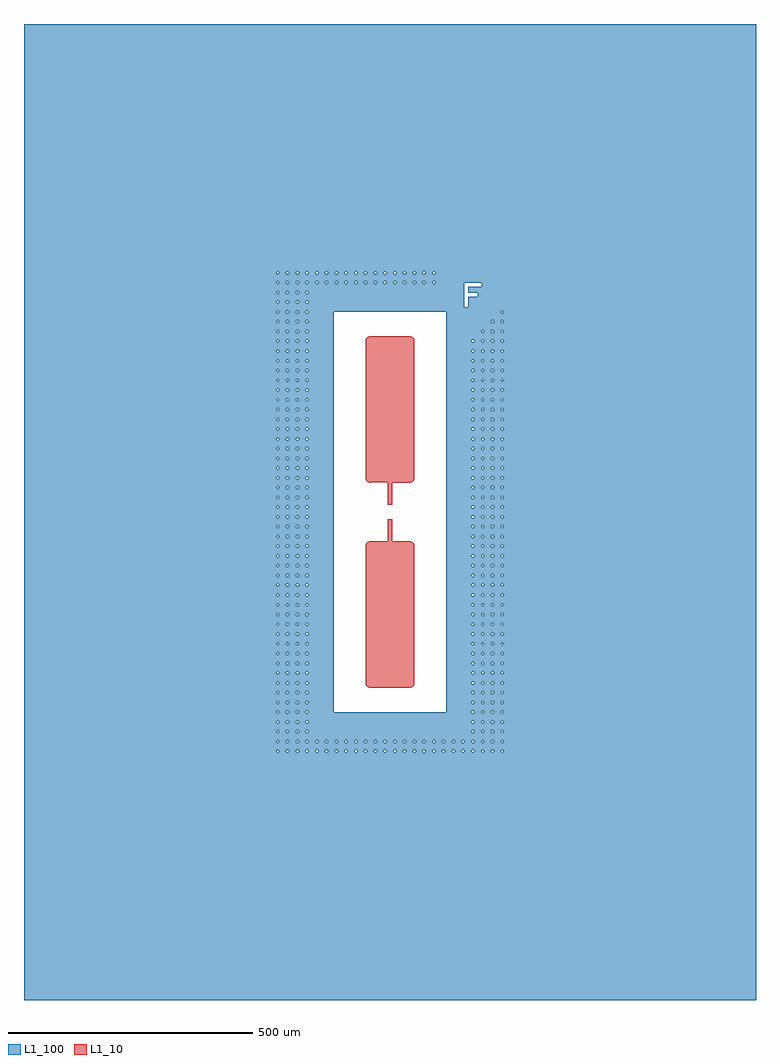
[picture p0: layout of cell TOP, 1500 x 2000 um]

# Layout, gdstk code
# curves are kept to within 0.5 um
import gdstk
lib = gdstk.Library(unit=1e-6, precision=1e-09)
def R(c, l, rs):  # rectangles x0, y0, x1, y1
    for r in rs: c.add(gdstk.rectangle(r[:2], r[2:], *l))
def P(c, l, *ps):  # polygons
    for p in ps: c.add(gdstk.Polygon(p, *l))
L1_10 = (1, 10)
L1_100 = (1, 100)

g__2__2 = lib.new_cell('G_-2_-2')
R(g__2__2, L1_100, [(-750,-1000,-500,-500)])

g__2__1 = lib.new_cell('G_-2_-1')
R(g__2__1, L1_100, [(-750,-500,-500,0)])

g__2_0 = lib.new_cell('G_-2_0')
R(g__2_0, L1_100, [(-750,0,-500,500)])

g__2_1 = lib.new_cell('G_-2_1')
R(g__2_1, L1_100, [(-750,500,-500,1000)])

g__1__2 = lib.new_cell('G_-1_-2')
R(g__1__2, L1_100, [(-500,-1000,0,-500)])

g__1__1 = lib.new_cell('G_-1_-1')
P(g__1__1, L1_100, [(-500,-500),(-500,-487.5),(-232.5,-487.5),(-232.5,-492.5),(-227.5,-492.5),(-227.5,-487.5),(-212.5,-487.5),(-212.5,-492.5),(-207.5,-492.5),(-207.5,-487.5),(-192.5,-487.5),(-192.5,-492.5),(-187.5,-492.5),(-187.5,-487.5),(-172.5,-487.5),(-172.5,-492.5),(-167.5,-492.5),(-167.5,-487.5),(-152.5,-487.5),(-152.5,-492.5),(-147.5,-492.5),(-147.5,-487.5),(-132.5,-487.5),(-132.5,-492.5),(-127.5,-492.5),(-127.5,-487.5),(-112.5,-487.5),(-112.5,-492.5),(-107.5,-492.5),(-107.5,-487.5),(-92.5,-487.5),(-92.5,-492.5),(-87.5,-492.5),(-87.5,-487.5),(-72.5,-487.5),(-72.5,-492.5),(-67.5,-492.5),(-67.5,-487.5),(-52.5,-487.5),(-52.5,-492.5),(-47.5,-492.5),(-47.5,-487.5),(-32.5,-487.5),(-32.5,-492.5),(-27.5,-492.5),(-27.5,-487.5),(-12.5,-487.5),(-12.5,-492.5),(-7.5,-492.5),(-7.5,-487.5),(-500,-487.5),(-500,-467.5),(-232.5,-467.5),(-232.5,-472.5),(-227.5,-472.5),(-227.5,-467.5),(-212.5,-467.5),(-212.5,-472.5),(-207.5,-472.5),(-207.5,-467.5),(-192.5,-467.5),(-192.5,-472.5),(-187.5,-472.5),(-187.5,-467.5),(-172.5,-467.5),(-172.5,-472.5),(-167.5,-472.5),(-167.5,-467.5),(-152.5,-467.5),(-152.5,-472.5),(-147.5,-472.5),(-147.5,-467.5),(-132.5,-467.5),(-132.5,-472.5),(-127.5,-472.5),(-127.5,-467.5),(-112.5,-467.5),(-112.5,-472.5),(-107.5,-472.5),(-107.5,-467.5),(-92.5,-467.5),(-92.5,-472.5),(-87.5,-472.5),(-87.5,-467.5),(-72.5,-467.5),(-72.5,-472.5),(-67.5,-472.5),(-67.5,-467.5),(-52.5,-467.5),(-52.5,-472.5),(-47.5,-472.5),(-47.5,-467.5),(-32.5,-467.5),(-32.5,-472.5),(-27.5,-472.5),(-27.5,-467.5),(-12.5,-467.5),(-12.5,-472.5),(-7.5,-472.5),(-7.5,-467.5),(-500,-467.5),(-500,-447.5),(-232.5,-447.5),(-232.5,-452.5),(-227.5,-452.5),(-227.5,-447.5),(-212.5,-447.5),(-212.5,-452.5),(-207.5,-452.5),(-207.5,-447.5),(-192.5,-447.5),(-192.5,-452.5),(-187.5,-452.5),(-187.5,-447.5),(-172.5,-447.5),(-172.5,-452.5),(-167.5,-452.5),(-167.5,-447.5),(-500,-447.5),(-500,-427.5),(-232.5,-427.5),(-232.5,-432.5),(-227.5,-432.5),(-227.5,-427.5),(-212.5,-427.5),(-212.5,-432.5),(-207.5,-432.5),(-207.5,-427.5),(-192.5,-427.5),(-192.5,-432.5),(-187.5,-432.5),(-187.5,-427.5),(-172.5,-427.5),(-172.5,-432.5),(-167.5,-432.5),(-167.5,-427.5),(-500,-427.5),(-500,-407.5),(-232.5,-407.5),(-232.5,-412.5),(-227.5,-412.5),(-227.5,-407.5),(-212.5,-407.5),(-212.5,-412.5),(-207.5,-412.5),(-207.5,-407.5),(-192.5,-407.5),(-192.5,-412.5),(-187.5,-412.5),(-187.5,-407.5),(-172.5,-407.5),(-172.5,-412.5),(-167.5,-412.5),(-167.5,-407.5),(-500,-407.5),(-500,-387.5),(-232.5,-387.5),(-232.5,-392.5),(-227.5,-392.5),(-227.5,-387.5),(-212.5,-387.5),(-212.5,-392.5),(-207.5,-392.5),(-207.5,-387.5),(-192.5,-387.5),(-192.5,-392.5),(-187.5,-392.5),(-187.5,-387.5),(-172.5,-387.5),(-172.5,-392.5),(-167.5,-392.5),(-167.5,-387.5),(-500,-387.5),(-500,-367.5),(-232.5,-367.5),(-232.5,-372.5),(-227.5,-372.5),(-227.5,-367.5),(-212.5,-367.5),(-212.5,-372.5),(-207.5,-372.5),(-207.5,-367.5),(-192.5,-367.5),(-192.5,-372.5),(-187.5,-372.5),(-187.5,-367.5),(-172.5,-367.5),(-172.5,-372.5),(-167.5,-372.5),(-167.5,-367.5),(-500,-367.5),(-500,-347.5),(-232.5,-347.5),(-232.5,-352.5),(-227.5,-352.5),(-227.5,-347.5),(-212.5,-347.5),(-212.5,-352.5),(-207.5,-352.5),(-207.5,-347.5),(-192.5,-347.5),(-192.5,-352.5),(-187.5,-352.5),(-187.5,-347.5),(-172.5,-347.5),(-172.5,-352.5),(-167.5,-352.5),(-167.5,-347.5),(-500,-347.5),(-500,-327.5),(-232.5,-327.5),(-232.5,-332.5),(-227.5,-332.5),(-227.5,-327.5),(-212.5,-327.5),(-212.5,-332.5),(-207.5,-332.5),(-207.5,-327.5),(-192.5,-327.5),(-192.5,-332.5),(-187.5,-332.5),(-187.5,-327.5),(-172.5,-327.5),(-172.5,-332.5),(-167.5,-332.5),(-167.5,-327.5),(-500,-327.5),(-500,-307.5),(-232.5,-307.5),(-232.5,-312.5),(-227.5,-312.5),(-227.5,-307.5),(-212.5,-307.5),(-212.5,-312.5),(-207.5,-312.5),(-207.5,-307.5),(-192.5,-307.5),(-192.5,-312.5),(-187.5,-312.5),(-187.5,-307.5),(-172.5,-307.5),(-172.5,-312.5),(-167.5,-312.5),(-167.5,-307.5),(-500,-307.5),(-500,-287.5),(-232.5,-287.5),(-232.5,-292.5),(-227.5,-292.5),(-227.5,-287.5),(-212.5,-287.5),(-212.5,-292.5),(-207.5,-292.5),(-207.5,-287.5),(-192.5,-287.5),(-192.5,-292.5),(-187.5,-292.5),(-187.5,-287.5),(-172.5,-287.5),(-172.5,-292.5),(-167.5,-292.5),(-167.5,-287.5),(-500,-287.5),(-500,-267.5),(-232.5,-267.5),(-232.5,-272.5),(-227.5,-272.5),(-227.5,-267.5),(-212.5,-267.5),(-212.5,-272.5),(-207.5,-272.5),(-207.5,-267.5),(-192.5,-267.5),(-192.5,-272.5),(-187.5,-272.5),(-187.5,-267.5),(-172.5,-267.5),(-172.5,-272.5),(-167.5,-272.5),(-167.5,-267.5),(-500,-267.5),(-500,-247.5),(-232.5,-247.5),(-232.5,-252.5),(-227.5,-252.5),(-227.5,-247.5),(-212.5,-247.5),(-212.5,-252.5),(-207.5,-252.5),(-207.5,-247.5),(-192.5,-247.5),(-192.5,-252.5),(-187.5,-252.5),(-187.5,-247.5),(-172.5,-247.5),(-172.5,-252.5),(-167.5,-252.5),(-167.5,-247.5),(-500,-247.5),(-500,-227.5),(-232.5,-227.5),(-232.5,-232.5),(-227.5,-232.5),(-227.5,-227.5),(-212.5,-227.5),(-212.5,-232.5),(-207.5,-232.5),(-207.5,-227.5),(-192.5,-227.5),(-192.5,-232.5),(-187.5,-232.5),(-187.5,-227.5),(-172.5,-227.5),(-172.5,-232.5),(-167.5,-232.5),(-167.5,-227.5),(-500,-227.5),(-500,-207.5),(-232.5,-207.5),(-232.5,-212.5),(-227.5,-212.5),(-227.5,-207.5),(-212.5,-207.5),(-212.5,-212.5),(-207.5,-212.5),(-207.5,-207.5),(-192.5,-207.5),(-192.5,-212.5),(-187.5,-212.5),(-187.5,-207.5),(-172.5,-207.5),(-172.5,-212.5),(-167.5,-212.5),(-167.5,-207.5),(-500,-207.5),(-500,-187.5),(-232.5,-187.5),(-232.5,-192.5),(-227.5,-192.5),(-227.5,-187.5),(-212.5,-187.5),(-212.5,-192.5),(-207.5,-192.5),(-207.5,-187.5),(-192.5,-187.5),(-192.5,-192.5),(-187.5,-192.5),(-187.5,-187.5),(-172.5,-187.5),(-172.5,-192.5),(-167.5,-192.5),(-167.5,-187.5),(-500,-187.5),(-500,-167.5),(-232.5,-167.5),(-232.5,-172.5),(-227.5,-172.5),(-227.5,-167.5),(-212.5,-167.5),(-212.5,-172.5),(-207.5,-172.5),(-207.5,-167.5),(-192.5,-167.5),(-192.5,-172.5),(-187.5,-172.5),(-187.5,-167.5),(-172.5,-167.5),(-172.5,-172.5),(-167.5,-172.5),(-167.5,-167.5),(-500,-167.5),(-500,-147.5),(-232.5,-147.5),(-232.5,-152.5),(-227.5,-152.5),(-227.5,-147.5),(-212.5,-147.5),(-212.5,-152.5),(-207.5,-152.5),(-207.5,-147.5),(-192.5,-147.5),(-192.5,-152.5),(-187.5,-152.5),(-187.5,-147.5),(-172.5,-147.5),(-172.5,-152.5),(-167.5,-152.5),(-167.5,-147.5),(-500,-147.5),(-500,-127.5),(-232.5,-127.5),(-232.5,-132.5),(-227.5,-132.5),(-227.5,-127.5),(-212.5,-127.5),(-212.5,-132.5),(-207.5,-132.5),(-207.5,-127.5),(-192.5,-127.5),(-192.5,-132.5),(-187.5,-132.5),(-187.5,-127.5),(-172.5,-127.5),(-172.5,-132.5),(-167.5,-132.5),(-167.5,-127.5),(-500,-127.5),(-500,-107.5),(-232.5,-107.5),(-232.5,-112.5),(-227.5,-112.5),(-227.5,-107.5),(-212.5,-107.5),(-212.5,-112.5),(-207.5,-112.5),(-207.5,-107.5),(-192.5,-107.5),(-192.5,-112.5),(-187.5,-112.5),(-187.5,-107.5),(-172.5,-107.5),(-172.5,-112.5),(-167.5,-112.5),(-167.5,-107.5),(-500,-107.5),(-500,-87.5),(-232.5,-87.5),(-232.5,-92.5),(-227.5,-92.5),(-227.5,-87.5),(-212.5,-87.5),(-212.5,-92.5),(-207.5,-92.5),(-207.5,-87.5),(-192.5,-87.5),(-192.5,-92.5),(-187.5,-92.5),(-187.5,-87.5),(-172.5,-87.5),(-172.5,-92.5),(-167.5,-92.5),(-167.5,-87.5),(-500,-87.5),(-500,-67.5),(-232.5,-67.5),(-232.5,-72.5),(-227.5,-72.5),(-227.5,-67.5),(-212.5,-67.5),(-212.5,-72.5),(-207.5,-72.5),(-207.5,-67.5),(-192.5,-67.5),(-192.5,-72.5),(-187.5,-72.5),(-187.5,-67.5),(-172.5,-67.5),(-172.5,-72.5),(-167.5,-72.5),(-167.5,-67.5),(-500,-67.5),(-500,-47.5),(-232.5,-47.5),(-232.5,-52.5),(-227.5,-52.5),(-227.5,-47.5),(-212.5,-47.5),(-212.5,-52.5),(-207.5,-52.5),(-207.5,-47.5),(-192.5,-47.5),(-192.5,-52.5),(-187.5,-52.5),(-187.5,-47.5),(-172.5,-47.5),(-172.5,-52.5),(-167.5,-52.5),(-167.5,-47.5),(-500,-47.5),(-500,-27.5),(-232.5,-27.5),(-232.5,-32.5),(-227.5,-32.5),(-227.5,-27.5),(-212.5,-27.5),(-212.5,-32.5),(-207.5,-32.5),(-207.5,-27.5),(-192.5,-27.5),(-192.5,-32.5),(-187.5,-32.5),(-187.5,-27.5),(-172.5,-27.5),(-172.5,-32.5),(-167.5,-32.5),(-167.5,-27.5),(-500,-27.5),(-500,-7.5),(-232.5,-7.5),(-232.5,-12.5),(-227.5,-12.5),(-227.5,-7.5),(-212.5,-7.5),(-212.5,-12.5),(-207.5,-12.5),(-207.5,-7.5),(-192.5,-7.5),(-192.5,-12.5),(-187.5,-12.5),(-187.5,-7.5),(-172.5,-7.5),(-172.5,-12.5),(-167.5,-12.5),(-167.5,-7.5),(-500,-7.5),(-500,0),(-115,0),(-115,-410),(0,-410),(0,-500)])

g__1_0 = lib.new_cell('G_-1_0')
P(g__1_0, L1_100, [(-500,0),(-500,12.5),(-232.5,12.5),(-232.5,7.5),(-227.5,7.5),(-227.5,12.5),(-212.5,12.5),(-212.5,7.5),(-207.5,7.5),(-207.5,12.5),(-192.5,12.5),(-192.5,7.5),(-187.5,7.5),(-187.5,12.5),(-172.5,12.5),(-172.5,7.5),(-167.5,7.5),(-167.5,12.5),(-500,12.5),(-500,32.5),(-232.5,32.5),(-232.5,27.5),(-227.5,27.5),(-227.5,32.5),(-212.5,32.5),(-212.5,27.5),(-207.5,27.5),(-207.5,32.5),(-192.5,32.5),(-192.5,27.5),(-187.5,27.5),(-187.5,32.5),(-172.5,32.5),(-172.5,27.5),(-167.5,27.5),(-167.5,32.5),(-500,32.5),(-500,52.5),(-232.5,52.5),(-232.5,47.5),(-227.5,47.5),(-227.5,52.5),(-212.5,52.5),(-212.5,47.5),(-207.5,47.5),(-207.5,52.5),(-192.5,52.5),(-192.5,47.5),(-187.5,47.5),(-187.5,52.5),(-172.5,52.5),(-172.5,47.5),(-167.5,47.5),(-167.5,52.5),(-500,52.5),(-500,72.5),(-232.5,72.5),(-232.5,67.5),(-227.5,67.5),(-227.5,72.5),(-212.5,72.5),(-212.5,67.5),(-207.5,67.5),(-207.5,72.5),(-192.5,72.5),(-192.5,67.5),(-187.5,67.5),(-187.5,72.5),(-172.5,72.5),(-172.5,67.5),(-167.5,67.5),(-167.5,72.5),(-500,72.5),(-500,92.5),(-232.5,92.5),(-232.5,87.5),(-227.5,87.5),(-227.5,92.5),(-212.5,92.5),(-212.5,87.5),(-207.5,87.5),(-207.5,92.5),(-192.5,92.5),(-192.5,87.5),(-187.5,87.5),(-187.5,92.5),(-172.5,92.5),(-172.5,87.5),(-167.5,87.5),(-167.5,92.5),(-500,92.5),(-500,112.5),(-232.5,112.5),(-232.5,107.5),(-227.5,107.5),(-227.5,112.5),(-212.5,112.5),(-212.5,107.5),(-207.5,107.5),(-207.5,112.5),(-192.5,112.5),(-192.5,107.5),(-187.5,107.5),(-187.5,112.5),(-172.5,112.5),(-172.5,107.5),(-167.5,107.5),(-167.5,112.5),(-500,112.5),(-500,132.5),(-232.5,132.5),(-232.5,127.5),(-227.5,127.5),(-227.5,132.5),(-212.5,132.5),(-212.5,127.5),(-207.5,127.5),(-207.5,132.5),(-192.5,132.5),(-192.5,127.5),(-187.5,127.5),(-187.5,132.5),(-172.5,132.5),(-172.5,127.5),(-167.5,127.5),(-167.5,132.5),(-500,132.5),(-500,152.5),(-232.5,152.5),(-232.5,147.5),(-227.5,147.5),(-227.5,152.5),(-212.5,152.5),(-212.5,147.5),(-207.5,147.5),(-207.5,152.5),(-192.5,152.5),(-192.5,147.5),(-187.5,147.5),(-187.5,152.5),(-172.5,152.5),(-172.5,147.5),(-167.5,147.5),(-167.5,152.5),(-500,152.5),(-500,172.5),(-232.5,172.5),(-232.5,167.5),(-227.5,167.5),(-227.5,172.5),(-212.5,172.5),(-212.5,167.5),(-207.5,167.5),(-207.5,172.5),(-192.5,172.5),(-192.5,167.5),(-187.5,167.5),(-187.5,172.5),(-172.5,172.5),(-172.5,167.5),(-167.5,167.5),(-167.5,172.5),(-500,172.5),(-500,192.5),(-232.5,192.5),(-232.5,187.5),(-227.5,187.5),(-227.5,192.5),(-212.5,192.5),(-212.5,187.5),(-207.5,187.5),(-207.5,192.5),(-192.5,192.5),(-192.5,187.5),(-187.5,187.5),(-187.5,192.5),(-172.5,192.5),(-172.5,187.5),(-167.5,187.5),(-167.5,192.5),(-500,192.5),(-500,212.5),(-232.5,212.5),(-232.5,207.5),(-227.5,207.5),(-227.5,212.5),(-212.5,212.5),(-212.5,207.5),(-207.5,207.5),(-207.5,212.5),(-192.5,212.5),(-192.5,207.5),(-187.5,207.5),(-187.5,212.5),(-172.5,212.5),(-172.5,207.5),(-167.5,207.5),(-167.5,212.5),(-500,212.5),(-500,232.5),(-232.5,232.5),(-232.5,227.5),(-227.5,227.5),(-227.5,232.5),(-212.5,232.5),(-212.5,227.5),(-207.5,227.5),(-207.5,232.5),(-192.5,232.5),(-192.5,227.5),(-187.5,227.5),(-187.5,232.5),(-172.5,232.5),(-172.5,227.5),(-167.5,227.5),(-167.5,232.5),(-500,232.5),(-500,252.5),(-232.5,252.5),(-232.5,247.5),(-227.5,247.5),(-227.5,252.5),(-212.5,252.5),(-212.5,247.5),(-207.5,247.5),(-207.5,252.5),(-192.5,252.5),(-192.5,247.5),(-187.5,247.5),(-187.5,252.5),(-172.5,252.5),(-172.5,247.5),(-167.5,247.5),(-167.5,252.5),(-500,252.5),(-500,272.5),(-232.5,272.5),(-232.5,267.5),(-227.5,267.5),(-227.5,272.5),(-212.5,272.5),(-212.5,267.5),(-207.5,267.5),(-207.5,272.5),(-192.5,272.5),(-192.5,267.5),(-187.5,267.5),(-187.5,272.5),(-172.5,272.5),(-172.5,267.5),(-167.5,267.5),(-167.5,272.5),(-500,272.5),(-500,292.5),(-232.5,292.5),(-232.5,287.5),(-227.5,287.5),(-227.5,292.5),(-212.5,292.5),(-212.5,287.5),(-207.5,287.5),(-207.5,292.5),(-192.5,292.5),(-192.5,287.5),(-187.5,287.5),(-187.5,292.5),(-172.5,292.5),(-172.5,287.5),(-167.5,287.5),(-167.5,292.5),(-500,292.5),(-500,312.5),(-232.5,312.5),(-232.5,307.5),(-227.5,307.5),(-227.5,312.5),(-212.5,312.5),(-212.5,307.5),(-207.5,307.5),(-207.5,312.5),(-192.5,312.5),(-192.5,307.5),(-187.5,307.5),(-187.5,312.5),(-172.5,312.5),(-172.5,307.5),(-167.5,307.5),(-167.5,312.5),(-500,312.5),(-500,332.5),(-232.5,332.5),(-232.5,327.5),(-227.5,327.5),(-227.5,332.5),(-212.5,332.5),(-212.5,327.5),(-207.5,327.5),(-207.5,332.5),(-192.5,332.5),(-192.5,327.5),(-187.5,327.5),(-187.5,332.5),(-172.5,332.5),(-172.5,327.5),(-167.5,327.5),(-167.5,332.5),(-500,332.5),(-500,352.5),(-232.5,352.5),(-232.5,347.5),(-227.5,347.5),(-227.5,352.5),(-212.5,352.5),(-212.5,347.5),(-207.5,347.5),(-207.5,352.5),(-192.5,352.5),(-192.5,347.5),(-187.5,347.5),(-187.5,352.5),(-172.5,352.5),(-172.5,347.5),(-167.5,347.5),(-167.5,352.5),(-500,352.5),(-500,372.5),(-232.5,372.5),(-232.5,367.5),(-227.5,367.5),(-227.5,372.5),(-212.5,372.5),(-212.5,367.5),(-207.5,367.5),(-207.5,372.5),(-192.5,372.5),(-192.5,367.5),(-187.5,367.5),(-187.5,372.5),(-172.5,372.5),(-172.5,367.5),(-167.5,367.5),(-167.5,372.5),(-500,372.5),(-500,392.5),(-232.5,392.5),(-232.5,387.5),(-227.5,387.5),(-227.5,392.5),(-212.5,392.5),(-212.5,387.5),(-207.5,387.5),(-207.5,392.5),(-192.5,392.5),(-192.5,387.5),(-187.5,387.5),(-187.5,392.5),(-172.5,392.5),(-172.5,387.5),(-167.5,387.5),(-167.5,392.5),(-500,392.5),(-500,412.5),(-232.5,412.5),(-232.5,407.5),(-227.5,407.5),(-227.5,412.5),(-212.5,412.5),(-212.5,407.5),(-207.5,407.5),(-207.5,412.5),(-192.5,412.5),(-192.5,407.5),(-187.5,407.5),(-187.5,412.5),(-172.5,412.5),(-172.5,407.5),(-167.5,407.5),(-167.5,412.5),(-500,412.5),(-500,432.5),(-232.5,432.5),(-232.5,427.5),(-227.5,427.5),(-227.5,432.5),(-212.5,432.5),(-212.5,427.5),(-207.5,427.5),(-207.5,432.5),(-192.5,432.5),(-192.5,427.5),(-187.5,427.5),(-187.5,432.5),(-172.5,432.5),(-172.5,427.5),(-167.5,427.5),(-167.5,432.5),(-500,432.5),(-500,452.5),(-232.5,452.5),(-232.5,447.5),(-227.5,447.5),(-227.5,452.5),(-212.5,452.5),(-212.5,447.5),(-207.5,447.5),(-207.5,452.5),(-192.5,452.5),(-192.5,447.5),(-187.5,447.5),(-187.5,452.5),(-172.5,452.5),(-172.5,447.5),(-167.5,447.5),(-167.5,452.5),(-500,452.5),(-500,472.5),(-232.5,472.5),(-232.5,467.5),(-227.5,467.5),(-227.5,472.5),(-212.5,472.5),(-212.5,467.5),(-207.5,467.5),(-207.5,472.5),(-192.5,472.5),(-192.5,467.5),(-187.5,467.5),(-187.5,472.5),(-172.5,472.5),(-172.5,467.5),(-167.5,467.5),(-167.5,472.5),(-152.5,472.5),(-152.5,467.5),(-147.5,467.5),(-147.5,472.5),(-132.5,472.5),(-132.5,467.5),(-127.5,467.5),(-127.5,472.5),(-112.5,472.5),(-112.5,467.5),(-107.5,467.5),(-107.5,472.5),(-92.5,472.5),(-92.5,467.5),(-87.5,467.5),(-87.5,472.5),(-72.5,472.5),(-72.5,467.5),(-67.5,467.5),(-67.5,472.5),(-52.5,472.5),(-52.5,467.5),(-47.5,467.5),(-47.5,472.5),(-32.5,472.5),(-32.5,467.5),(-27.5,467.5),(-27.5,472.5),(-12.5,472.5),(-12.5,467.5),(-7.5,467.5),(-7.5,472.5),(-500,472.5),(-500,492.5),(-232.5,492.5),(-232.5,487.5),(-227.5,487.5),(-227.5,492.5),(-212.5,492.5),(-212.5,487.5),(-207.5,487.5),(-207.5,492.5),(-192.5,492.5),(-192.5,487.5),(-187.5,487.5),(-187.5,492.5),(-172.5,492.5),(-172.5,487.5),(-167.5,487.5),(-167.5,492.5),(-152.5,492.5),(-152.5,487.5),(-147.5,487.5),(-147.5,492.5),(-132.5,492.5),(-132.5,487.5),(-127.5,487.5),(-127.5,492.5),(-112.5,492.5),(-112.5,487.5),(-107.5,487.5),(-107.5,492.5),(-92.5,492.5),(-92.5,487.5),(-87.5,487.5),(-87.5,492.5),(-72.5,492.5),(-72.5,487.5),(-67.5,487.5),(-67.5,492.5),(-52.5,492.5),(-52.5,487.5),(-47.5,487.5),(-47.5,492.5),(-32.5,492.5),(-32.5,487.5),(-27.5,487.5),(-27.5,492.5),(-12.5,492.5),(-12.5,487.5),(-7.5,487.5),(-7.5,492.5),(-500,492.5),(-500,500),(0,500),(0,410),(-115,410),(-115,0)])

g__1_1 = lib.new_cell('G_-1_1')
R(g__1_1, L1_100, [(-500,500,0,1000)])

g_0__2 = lib.new_cell('G_0_-2')
R(g_0__2, L1_100, [(0,-1000,500,-500)])

g_0__1 = lib.new_cell('G_0_-1')
P(g_0__1, L1_100, [(0,-500),(0,-487.5),(7.5,-487.5),(7.5,-492.5),(12.5,-492.5),(12.5,-487.5),(27.5,-487.5),(27.5,-492.5),(32.5,-492.5),(32.5,-487.5),(47.5,-487.5),(47.5,-492.5),(52.5,-492.5),(52.5,-487.5),(67.5,-487.5),(67.5,-492.5),(72.5,-492.5),(72.5,-487.5),(87.5,-487.5),(87.5,-492.5),(92.5,-492.5),(92.5,-487.5),(107.5,-487.5),(107.5,-492.5),(112.5,-492.5),(112.5,-487.5),(127.5,-487.5),(127.5,-492.5),(132.5,-492.5),(132.5,-487.5),(147.5,-487.5),(147.5,-492.5),(152.5,-492.5),(152.5,-487.5),(167.5,-487.5),(167.5,-492.5),(172.5,-492.5),(172.5,-487.5),(187.5,-487.5),(187.5,-492.5),(192.5,-492.5),(192.5,-487.5),(207.5,-487.5),(207.5,-492.5),(212.5,-492.5),(212.5,-487.5),(227.5,-487.5),(227.5,-492.5),(232.5,-492.5),(232.5,-487.5),(0,-487.5),(0,-467.5),(7.5,-467.5),(7.5,-472.5),(12.5,-472.5),(12.5,-467.5),(27.5,-467.5),(27.5,-472.5),(32.5,-472.5),(32.5,-467.5),(47.5,-467.5),(47.5,-472.5),(52.5,-472.5),(52.5,-467.5),(67.5,-467.5),(67.5,-472.5),(72.5,-472.5),(72.5,-467.5),(87.5,-467.5),(87.5,-472.5),(92.5,-472.5),(92.5,-467.5),(107.5,-467.5),(107.5,-472.5),(112.5,-472.5),(112.5,-467.5),(127.5,-467.5),(127.5,-472.5),(132.5,-472.5),(132.5,-467.5),(147.5,-467.5),(147.5,-472.5),(152.5,-472.5),(152.5,-467.5),(167.5,-467.5),(167.5,-472.5),(172.5,-472.5),(172.5,-467.5),(187.5,-467.5),(187.5,-472.5),(192.5,-472.5),(192.5,-467.5),(207.5,-467.5),(207.5,-472.5),(212.5,-472.5),(212.5,-467.5),(227.5,-467.5),(227.5,-472.5),(232.5,-472.5),(232.5,-467.5),(0,-467.5),(0,-447.5),(167.5,-447.5),(167.5,-452.5),(172.5,-452.5),(172.5,-447.5),(187.5,-447.5),(187.5,-452.5),(192.5,-452.5),(192.5,-447.5),(207.5,-447.5),(207.5,-452.5),(212.5,-452.5),(212.5,-447.5),(227.5,-447.5),(227.5,-452.5),(232.5,-452.5),(232.5,-447.5),(0,-447.5),(0,-427.5),(167.5,-427.5),(167.5,-432.5),(172.5,-432.5),(172.5,-427.5),(187.5,-427.5),(187.5,-432.5),(192.5,-432.5),(192.5,-427.5),(207.5,-427.5),(207.5,-432.5),(212.5,-432.5),(212.5,-427.5),(227.5,-427.5),(227.5,-432.5),(232.5,-432.5),(232.5,-427.5),(0,-427.5),(0,-410),(115,-410),(115,-407.5),(167.5,-407.5),(167.5,-412.5),(172.5,-412.5),(172.5,-407.5),(187.5,-407.5),(187.5,-412.5),(192.5,-412.5),(192.5,-407.5),(207.5,-407.5),(207.5,-412.5),(212.5,-412.5),(212.5,-407.5),(227.5,-407.5),(227.5,-412.5),(232.5,-412.5),(232.5,-407.5),(115,-407.5),(115,-387.5),(167.5,-387.5),(167.5,-392.5),(172.5,-392.5),(172.5,-387.5),(187.5,-387.5),(187.5,-392.5),(192.5,-392.5),(192.5,-387.5),(207.5,-387.5),(207.5,-392.5),(212.5,-392.5),(212.5,-387.5),(227.5,-387.5),(227.5,-392.5),(232.5,-392.5),(232.5,-387.5),(115,-387.5),(115,-367.5),(167.5,-367.5),(167.5,-372.5),(172.5,-372.5),(172.5,-367.5),(187.5,-367.5),(187.5,-372.5),(192.5,-372.5),(192.5,-367.5),(207.5,-367.5),(207.5,-372.5),(212.5,-372.5),(212.5,-367.5),(227.5,-367.5),(227.5,-372.5),(232.5,-372.5),(232.5,-367.5),(115,-367.5),(115,-347.5),(167.5,-347.5),(167.5,-352.5),(172.5,-352.5),(172.5,-347.5),(187.5,-347.5),(187.5,-352.5),(192.5,-352.5),(192.5,-347.5),(207.5,-347.5),(207.5,-352.5),(212.5,-352.5),(212.5,-347.5),(227.5,-347.5),(227.5,-352.5),(232.5,-352.5),(232.5,-347.5),(115,-347.5),(115,-327.5),(167.5,-327.5),(167.5,-332.5),(172.5,-332.5),(172.5,-327.5),(187.5,-327.5),(187.5,-332.5),(192.5,-332.5),(192.5,-327.5),(207.5,-327.5),(207.5,-332.5),(212.5,-332.5),(212.5,-327.5),(227.5,-327.5),(227.5,-332.5),(232.5,-332.5),(232.5,-327.5),(115,-327.5),(115,-307.5),(167.5,-307.5),(167.5,-312.5),(172.5,-312.5),(172.5,-307.5),(187.5,-307.5),(187.5,-312.5),(192.5,-312.5),(192.5,-307.5),(207.5,-307.5),(207.5,-312.5),(212.5,-312.5),(212.5,-307.5),(227.5,-307.5),(227.5,-312.5),(232.5,-312.5),(232.5,-307.5),(115,-307.5),(115,-287.5),(167.5,-287.5),(167.5,-292.5),(172.5,-292.5),(172.5,-287.5),(187.5,-287.5),(187.5,-292.5),(192.5,-292.5),(192.5,-287.5),(207.5,-287.5),(207.5,-292.5),(212.5,-292.5),(212.5,-287.5),(227.5,-287.5),(227.5,-292.5),(232.5,-292.5),(232.5,-287.5),(115,-287.5),(115,-267.5),(167.5,-267.5),(167.5,-272.5),(172.5,-272.5),(172.5,-267.5),(187.5,-267.5),(187.5,-272.5),(192.5,-272.5),(192.5,-267.5),(207.5,-267.5),(207.5,-272.5),(212.5,-272.5),(212.5,-267.5),(227.5,-267.5),(227.5,-272.5),(232.5,-272.5),(232.5,-267.5),(115,-267.5),(115,-247.5),(167.5,-247.5),(167.5,-252.5),(172.5,-252.5),(172.5,-247.5),(187.5,-247.5),(187.5,-252.5),(192.5,-252.5),(192.5,-247.5),(207.5,-247.5),(207.5,-252.5),(212.5,-252.5),(212.5,-247.5),(227.5,-247.5),(227.5,-252.5),(232.5,-252.5),(232.5,-247.5),(115,-247.5),(115,-227.5),(167.5,-227.5),(167.5,-232.5),(172.5,-232.5),(172.5,-227.5),(187.5,-227.5),(187.5,-232.5),(192.5,-232.5),(192.5,-227.5),(207.5,-227.5),(207.5,-232.5),(212.5,-232.5),(212.5,-227.5),(227.5,-227.5),(227.5,-232.5),(232.5,-232.5),(232.5,-227.5),(115,-227.5),(115,-207.5),(167.5,-207.5),(167.5,-212.5),(172.5,-212.5),(172.5,-207.5),(187.5,-207.5),(187.5,-212.5),(192.5,-212.5),(192.5,-207.5),(207.5,-207.5),(207.5,-212.5),(212.5,-212.5),(212.5,-207.5),(227.5,-207.5),(227.5,-212.5),(232.5,-212.5),(232.5,-207.5),(115,-207.5),(115,-187.5),(167.5,-187.5),(167.5,-192.5),(172.5,-192.5),(172.5,-187.5),(187.5,-187.5),(187.5,-192.5),(192.5,-192.5),(192.5,-187.5),(207.5,-187.5),(207.5,-192.5),(212.5,-192.5),(212.5,-187.5),(227.5,-187.5),(227.5,-192.5),(232.5,-192.5),(232.5,-187.5),(115,-187.5),(115,-167.5),(167.5,-167.5),(167.5,-172.5),(172.5,-172.5),(172.5,-167.5),(187.5,-167.5),(187.5,-172.5),(192.5,-172.5),(192.5,-167.5),(207.5,-167.5),(207.5,-172.5),(212.5,-172.5),(212.5,-167.5),(227.5,-167.5),(227.5,-172.5),(232.5,-172.5),(232.5,-167.5),(115,-167.5),(115,-147.5),(167.5,-147.5),(167.5,-152.5),(172.5,-152.5),(172.5,-147.5),(187.5,-147.5),(187.5,-152.5),(192.5,-152.5),(192.5,-147.5),(207.5,-147.5),(207.5,-152.5),(212.5,-152.5),(212.5,-147.5),(227.5,-147.5),(227.5,-152.5),(232.5,-152.5),(232.5,-147.5),(115,-147.5),(115,-127.5),(167.5,-127.5),(167.5,-132.5),(172.5,-132.5),(172.5,-127.5),(187.5,-127.5),(187.5,-132.5),(192.5,-132.5),(192.5,-127.5),(207.5,-127.5),(207.5,-132.5),(212.5,-132.5),(212.5,-127.5),(227.5,-127.5),(227.5,-132.5),(232.5,-132.5),(232.5,-127.5),(115,-127.5),(115,-107.5),(167.5,-107.5),(167.5,-112.5),(172.5,-112.5),(172.5,-107.5),(187.5,-107.5),(187.5,-112.5),(192.5,-112.5),(192.5,-107.5),(207.5,-107.5),(207.5,-112.5),(212.5,-112.5),(212.5,-107.5),(227.5,-107.5),(227.5,-112.5),(232.5,-112.5),(232.5,-107.5),(115,-107.5),(115,-87.5),(167.5,-87.5),(167.5,-92.5),(172.5,-92.5),(172.5,-87.5),(187.5,-87.5),(187.5,-92.5),(192.5,-92.5),(192.5,-87.5),(207.5,-87.5),(207.5,-92.5),(212.5,-92.5),(212.5,-87.5),(227.5,-87.5),(227.5,-92.5),(232.5,-92.5),(232.5,-87.5),(115,-87.5),(115,-67.5),(167.5,-67.5),(167.5,-72.5),(172.5,-72.5),(172.5,-67.5),(187.5,-67.5),(187.5,-72.5),(192.5,-72.5),(192.5,-67.5),(207.5,-67.5),(207.5,-72.5),(212.5,-72.5),(212.5,-67.5),(227.5,-67.5),(227.5,-72.5),(232.5,-72.5),(232.5,-67.5),(115,-67.5),(115,-47.5),(167.5,-47.5),(167.5,-52.5),(172.5,-52.5),(172.5,-47.5),(187.5,-47.5),(187.5,-52.5),(192.5,-52.5),(192.5,-47.5),(207.5,-47.5),(207.5,-52.5),(212.5,-52.5),(212.5,-47.5),(227.5,-47.5),(227.5,-52.5),(232.5,-52.5),(232.5,-47.5),(115,-47.5),(115,-27.5),(167.5,-27.5),(167.5,-32.5),(172.5,-32.5),(172.5,-27.5),(187.5,-27.5),(187.5,-32.5),(192.5,-32.5),(192.5,-27.5),(207.5,-27.5),(207.5,-32.5),(212.5,-32.5),(212.5,-27.5),(227.5,-27.5),(227.5,-32.5),(232.5,-32.5),(232.5,-27.5),(115,-27.5),(115,-7.5),(167.5,-7.5),(167.5,-12.5),(172.5,-12.5),(172.5,-7.5),(187.5,-7.5),(187.5,-12.5),(192.5,-12.5),(192.5,-7.5),(207.5,-7.5),(207.5,-12.5),(212.5,-12.5),(212.5,-7.5),(227.5,-7.5),(227.5,-12.5),(232.5,-12.5),(232.5,-7.5),(115,-7.5),(115,0),(500,0),(500,-500)])

g_0_0 = lib.new_cell('G_0_0')
P(g_0_0, L1_100, [(115,0),(115,12.5),(167.5,12.5),(167.5,7.5),(172.5,7.5),(172.5,12.5),(187.5,12.5),(187.5,7.5),(192.5,7.5),(192.5,12.5),(207.5,12.5),(207.5,7.5),(212.5,7.5),(212.5,12.5),(227.5,12.5),(227.5,7.5),(232.5,7.5),(232.5,12.5),(115,12.5),(115,32.5),(167.5,32.5),(167.5,27.5),(172.5,27.5),(172.5,32.5),(187.5,32.5),(187.5,27.5),(192.5,27.5),(192.5,32.5),(207.5,32.5),(207.5,27.5),(212.5,27.5),(212.5,32.5),(227.5,32.5),(227.5,27.5),(232.5,27.5),(232.5,32.5),(115,32.5),(115,52.5),(167.5,52.5),(167.5,47.5),(172.5,47.5),(172.5,52.5),(187.5,52.5),(187.5,47.5),(192.5,47.5),(192.5,52.5),(207.5,52.5),(207.5,47.5),(212.5,47.5),(212.5,52.5),(227.5,52.5),(227.5,47.5),(232.5,47.5),(232.5,52.5),(115,52.5),(115,72.5),(167.5,72.5),(167.5,67.5),(172.5,67.5),(172.5,72.5),(187.5,72.5),(187.5,67.5),(192.5,67.5),(192.5,72.5),(207.5,72.5),(207.5,67.5),(212.5,67.5),(212.5,72.5),(227.5,72.5),(227.5,67.5),(232.5,67.5),(232.5,72.5),(115,72.5),(115,92.5),(167.5,92.5),(167.5,87.5),(172.5,87.5),(172.5,92.5),(187.5,92.5),(187.5,87.5),(192.5,87.5),(192.5,92.5),(207.5,92.5),(207.5,87.5),(212.5,87.5),(212.5,92.5),(227.5,92.5),(227.5,87.5),(232.5,87.5),(232.5,92.5),(115,92.5),(115,112.5),(167.5,112.5),(167.5,107.5),(172.5,107.5),(172.5,112.5),(187.5,112.5),(187.5,107.5),(192.5,107.5),(192.5,112.5),(207.5,112.5),(207.5,107.5),(212.5,107.5),(212.5,112.5),(227.5,112.5),(227.5,107.5),(232.5,107.5),(232.5,112.5),(115,112.5),(115,132.5),(167.5,132.5),(167.5,127.5),(172.5,127.5),(172.5,132.5),(187.5,132.5),(187.5,127.5),(192.5,127.5),(192.5,132.5),(207.5,132.5),(207.5,127.5),(212.5,127.5),(212.5,132.5),(227.5,132.5),(227.5,127.5),(232.5,127.5),(232.5,132.5),(115,132.5),(115,152.5),(167.5,152.5),(167.5,147.5),(172.5,147.5),(172.5,152.5),(187.5,152.5),(187.5,147.5),(192.5,147.5),(192.5,152.5),(207.5,152.5),(207.5,147.5),(212.5,147.5),(212.5,152.5),(227.5,152.5),(227.5,147.5),(232.5,147.5),(232.5,152.5),(115,152.5),(115,172.5),(167.5,172.5),(167.5,167.5),(172.5,167.5),(172.5,172.5),(187.5,172.5),(187.5,167.5),(192.5,167.5),(192.5,172.5),(207.5,172.5),(207.5,167.5),(212.5,167.5),(212.5,172.5),(227.5,172.5),(227.5,167.5),(232.5,167.5),(232.5,172.5),(115,172.5),(115,192.5),(167.5,192.5),(167.5,187.5),(172.5,187.5),(172.5,192.5),(187.5,192.5),(187.5,187.5),(192.5,187.5),(192.5,192.5),(207.5,192.5),(207.5,187.5),(212.5,187.5),(212.5,192.5),(227.5,192.5),(227.5,187.5),(232.5,187.5),(232.5,192.5),(115,192.5),(115,212.5),(167.5,212.5),(167.5,207.5),(172.5,207.5),(172.5,212.5),(187.5,212.5),(187.5,207.5),(192.5,207.5),(192.5,212.5),(207.5,212.5),(207.5,207.5),(212.5,207.5),(212.5,212.5),(227.5,212.5),(227.5,207.5),(232.5,207.5),(232.5,212.5),(115,212.5),(115,232.5),(167.5,232.5),(167.5,227.5),(172.5,227.5),(172.5,232.5),(187.5,232.5),(187.5,227.5),(192.5,227.5),(192.5,232.5),(207.5,232.5),(207.5,227.5),(212.5,227.5),(212.5,232.5),(227.5,232.5),(227.5,227.5),(232.5,227.5),(232.5,232.5),(115,232.5),(115,252.5),(167.5,252.5),(167.5,247.5),(172.5,247.5),(172.5,252.5),(187.5,252.5),(187.5,247.5),(192.5,247.5),(192.5,252.5),(207.5,252.5),(207.5,247.5),(212.5,247.5),(212.5,252.5),(227.5,252.5),(227.5,247.5),(232.5,247.5),(232.5,252.5),(115,252.5),(115,272.5),(167.5,272.5),(167.5,267.5),(172.5,267.5),(172.5,272.5),(187.5,272.5),(187.5,267.5),(192.5,267.5),(192.5,272.5),(207.5,272.5),(207.5,267.5),(212.5,267.5),(212.5,272.5),(227.5,272.5),(227.5,267.5),(232.5,267.5),(232.5,272.5),(115,272.5),(115,292.5),(167.5,292.5),(167.5,287.5),(172.5,287.5),(172.5,292.5),(187.5,292.5),(187.5,287.5),(192.5,287.5),(192.5,292.5),(207.5,292.5),(207.5,287.5),(212.5,287.5),(212.5,292.5),(227.5,292.5),(227.5,287.5),(232.5,287.5),(232.5,292.5),(115,292.5),(115,312.5),(167.5,312.5),(167.5,307.5),(172.5,307.5),(172.5,312.5),(187.5,312.5),(187.5,307.5),(192.5,307.5),(192.5,312.5),(207.5,312.5),(207.5,307.5),(212.5,307.5),(212.5,312.5),(227.5,312.5),(227.5,307.5),(232.5,307.5),(232.5,312.5),(115,312.5),(115,332.5),(167.5,332.5),(167.5,327.5),(172.5,327.5),(172.5,332.5),(187.5,332.5),(187.5,327.5),(192.5,327.5),(192.5,332.5),(207.5,332.5),(207.5,327.5),(212.5,327.5),(212.5,332.5),(227.5,332.5),(227.5,327.5),(232.5,327.5),(232.5,332.5),(115,332.5),(115,352.5),(167.5,352.5),(167.5,347.5),(172.5,347.5),(172.5,352.5),(187.5,352.5),(187.5,347.5),(192.5,347.5),(192.5,352.5),(207.5,352.5),(207.5,347.5),(212.5,347.5),(212.5,352.5),(227.5,352.5),(227.5,347.5),(232.5,347.5),(232.5,352.5),(115,352.5),(115,372.5),(187.5,372.5),(187.5,367.5),(192.5,367.5),(192.5,372.5),(207.5,372.5),(207.5,367.5),(212.5,367.5),(212.5,372.5),(227.5,372.5),(227.5,367.5),(232.5,367.5),(232.5,372.5),(115,372.5),(115,392.5),(207.5,392.5),(207.5,387.5),(212.5,387.5),(212.5,392.5),(227.5,392.5),(227.5,387.5),(232.5,387.5),(232.5,392.5),(115,392.5),(115,410),(0,410),(0,412.5),(227.5,412.5),(227.5,407.5),(232.5,407.5),(232.5,412.5),(0,412.5),(0,472.5),(7.5,472.5),(7.5,467.5),(12.5,467.5),(12.5,472.5),(27.5,472.5),(27.5,467.5),(32.5,467.5),(32.5,472.5),(47.5,472.5),(47.5,467.5),(52.5,467.5),(52.5,472.5),(67.5,472.5),(67.5,467.5),(72.5,467.5),(72.5,472.5),(87.5,472.5),(87.5,467.5),(92.5,467.5),(92.5,470),(152,470),(152,420),(160,420),(160,441),(180,441),(180,449),(160,449),(160,462),(188,462),(188,470),(92.5,470),(92.5,472.5),(0,472.5),(0,492.5),(7.5,492.5),(7.5,487.5),(12.5,487.5),(12.5,492.5),(27.5,492.5),(27.5,487.5),(32.5,487.5),(32.5,492.5),(47.5,492.5),(47.5,487.5),(52.5,487.5),(52.5,492.5),(67.5,492.5),(67.5,487.5),(72.5,487.5),(72.5,492.5),(87.5,492.5),(87.5,487.5),(92.5,487.5),(92.5,492.5),(0,492.5),(0,500),(500,500),(500,0)])

g_0_1 = lib.new_cell('G_0_1')
R(g_0_1, L1_100, [(0,500,500,1000)])

g_1__2 = lib.new_cell('G_1_-2')
R(g_1__2, L1_100, [(500,-1000,750,-500)])

g_1__1 = lib.new_cell('G_1_-1')
R(g_1__1, L1_100, [(500,-500,750,0)])

g_1_0 = lib.new_cell('G_1_0')
R(g_1_0, L1_100, [(500,0,750,500)])

g_1_1 = lib.new_cell('G_1_1')
R(g_1_1, L1_100, [(500,500,750,1000)])

top = lib.new_cell('TOP')
P(top, L1_10, [(-40,-360),(-43.827,-359.239),(-47.071,-357.071),(-49.239,-353.827),(-50,-350),(-49.952,-69.02),(-47.73,-63.656),(-45.556,-61.685),(-41.951,-60.192),(-5,-60),(-5,-15),(-1,-15),(-1,-19),(1,-19),(1,-15),(5,-15),(5,-60),(41.951,-60.192),(45.556,-61.685),(47.73,-63.656),(49.952,-69.02),(49.952,-350.98),(49.239,-353.827),(47.071,-357.071),(43.827,-359.239),(40.98,-359.952)],
  [(-5,15),(-5,60),(-41.951,60.192),(-45.556,61.685),(-47.73,63.656),(-49.952,69.02),(-49.952,350.98),(-49.239,353.827),(-47.071,357.071),(-43.827,359.239),(-40.98,359.952),(40.98,359.952),(44.714,358.819),(47.73,356.344),(49.239,353.827),(50,350),(49.952,69.02),(47.73,63.656),(45.556,61.685),(41.951,60.192),(5,60),(5,15),(1,15),(1,19),(-1,19),(-1,15)])
top.add(gdstk.Reference(g__2__2, (0,0)))
top.add(gdstk.Reference(g__2__1, (0,0)))
top.add(gdstk.Reference(g__2_0, (0,0)))
top.add(gdstk.Reference(g__2_1, (0,0)))
top.add(gdstk.Reference(g__1__2, (0,0)))
top.add(gdstk.Reference(g__1__1, (0,0)))
top.add(gdstk.Reference(g__1_0, (0,0)))
top.add(gdstk.Reference(g__1_1, (0,0)))
top.add(gdstk.Reference(g_0__2, (0,0)))
top.add(gdstk.Reference(g_0__1, (0,0)))
top.add(gdstk.Reference(g_0_0, (0,0)))
top.add(gdstk.Reference(g_0_1, (0,0)))
top.add(gdstk.Reference(g_1__2, (0,0)))
top.add(gdstk.Reference(g_1__1, (0,0)))
top.add(gdstk.Reference(g_1_0, (0,0)))
top.add(gdstk.Reference(g_1_1, (0,0)))

lib.write_gds('TOP.gds')
